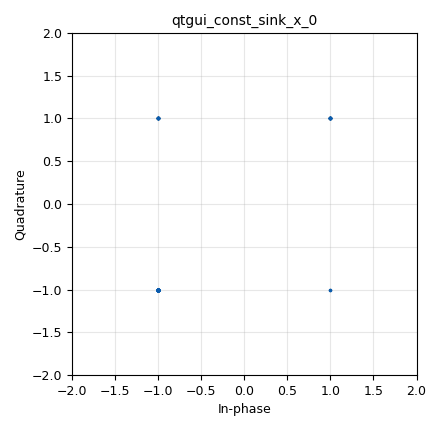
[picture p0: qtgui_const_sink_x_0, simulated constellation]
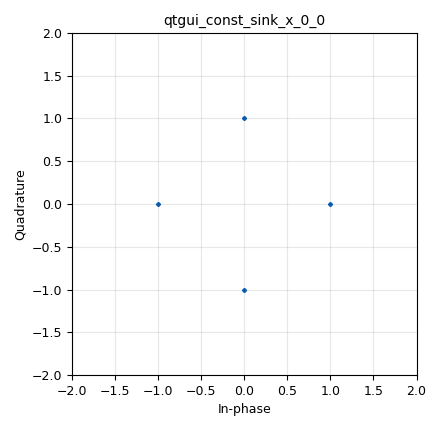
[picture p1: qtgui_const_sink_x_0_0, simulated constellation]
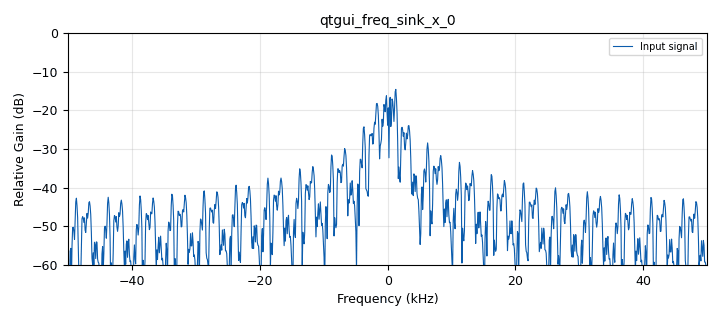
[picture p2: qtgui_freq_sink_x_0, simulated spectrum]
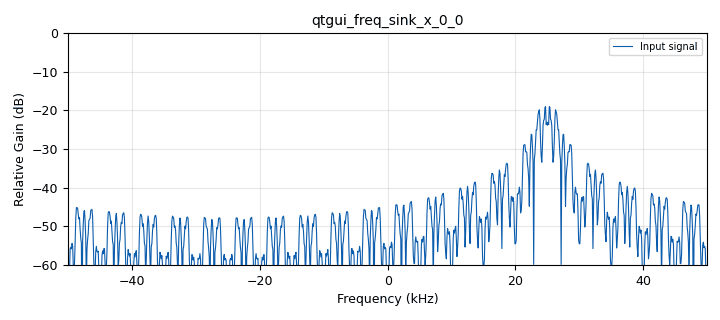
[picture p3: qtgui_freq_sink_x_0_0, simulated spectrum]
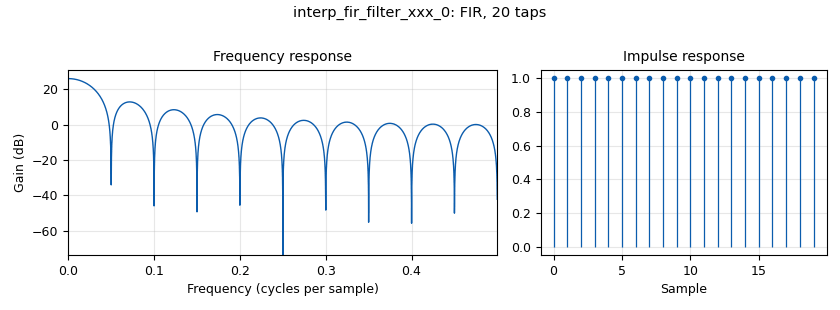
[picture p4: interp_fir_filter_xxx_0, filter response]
options:
  parameters:
    category: Custom
    description: IQ_tutorial_QPSK
    generate_options: qt_gui
    id: IQ_tutorial_QPSK
    output_language: python
    title: QPSK
  states: {}

blocks:
- name: bit_rate
  id: variable
  parameters:
    value: '5000'
  states: {}
- name: delta_f_over_fs
  id: variable_qtgui_range
  parameters:
    comment: Small delta_f
    gui_hint: 0,2,1,1
    label: delta_f/fs (channel)
    orient: Qt.Horizontal
    start: '-1.0e-4'
    step: '1.0e-6'
    stop: '1.0e-4'
    value: '0'
  states: {}
- name: delta_f_over_fs
  id: variable_qtgui_range
  parameters:
    comment: large delta_f
    gui_hint: 0,2,1,1
    orient: Qt.Horizontal
    start: '-0.25'
    step: 1/100
    stop: '0.25'
    value: '0'
  states: {state: disabled}
- name: noise
  id: variable_qtgui_range
  parameters:
    gui_hint: 0,0,1,1
    label: Noise
    orient: Qt.Horizontal
    start: '0'
    step: '0.01'
    stop: '0.2'
    value: '0'
  states: {}
- name: samp_rate
  id: variable
  parameters:
    value: bit_rate*sample_per_bit
  states: {}
- name: sample_per_bit
  id: variable
  parameters:
    value: '20'
  states: {}
- name: analog_const_source_x_0
  id: analog_const_source_x
  parameters:
    const: '0'
    type: float
  states: {}
- name: analog_random_source_x_0
  id: analog_random_source_x
  parameters:
    max: '2'
    min: '0'
    num_samps: '1000'
    repeat: 'True'
    type: byte
  states: {}
- name: analog_random_source_x_0_0
  id: analog_random_source_x
  parameters:
    max: '2'
    min: '0'
    num_samps: '1000'
    repeat: 'True'
    type: byte
  states: {}
- name: analog_sig_source_x_0
  id: analog_sig_source_x
  parameters:
    amp: '1'
    freq: samp_rate/4
    offset: '0'
    phase: '0'
    samp_rate: samp_rate
    type: complex
    waveform: analog.GR_COS_WAVE
  states: {}
- name: blocks_add_const_vxx_0_0
  id: blocks_add_const_vxx
  parameters:
    const: '-1-1j'
    type: complex
  states: {}
- name: blocks_add_const_vxx_0_0_0
  id: blocks_add_const_vxx
  parameters:
    const: '-1'
    type: complex
  states: {}
- name: blocks_char_to_float_0
  id: blocks_char_to_float
  parameters:
    scale: '0.5'
  states: {}
- name: blocks_char_to_float_0_0
  id: blocks_char_to_float
  parameters:
    scale: '0.5'
  states: {}
- name: blocks_float_to_complex_1
  id: blocks_float_to_complex
  parameters: {}
  states: {}
- name: blocks_float_to_complex_1_0
  id: blocks_float_to_complex
  parameters: {}
  states: {}
- name: blocks_multiply_xx_0
  id: blocks_multiply_xx
  parameters:
    type: complex
  states: {}
- name: blocks_throttle_1
  id: blocks_throttle
  parameters:
    samples_per_second: samp_rate
    type: complex
  states: {}
- name: blocks_throttle_1_0
  id: blocks_throttle
  parameters:
    samples_per_second: samp_rate
    type: complex
  states: {}
- name: channels_channel_model_0
  id: channels_channel_model
  parameters:
    comment: both channel are identical
    epsilon: '1.0'
    freq_offset: delta_f_over_fs
    noise_voltage: noise
    seed: '0'
    taps: '1'
  states: {}
- name: channels_channel_model_0_0
  id: channels_channel_model
  parameters:
    comment: both channel are identical
    epsilon: '1.0'
    freq_offset: delta_f_over_fs
    noise_voltage: noise
    seed: '0'
    taps: '1'
  states: {}
- name: interp_fir_filter_xxx_0
  id: interp_fir_filter_xxx
  parameters:
    comment: interpolate without filtering
    interp: sample_per_bit
    taps: numpy.ones(sample_per_bit)
    type: ccc
  states: {}
- name: interp_fir_filter_xxx_0_0
  id: interp_fir_filter_xxx
  parameters:
    comment: interpolate without filtering
    interp: sample_per_bit
    taps: numpy.ones(sample_per_bit)
    type: ccc
  states: {}
- name: qtgui_const_sink_x_0
  id: qtgui_const_sink_x
  parameters:
    gui_hint: tab@0:0,0,1,1
    size: '100'
    style1: '1'
    type: complex
  states: {}
- name: qtgui_const_sink_x_0_0
  id: qtgui_const_sink_x
  parameters:
    gui_hint: tab@0:0,1,1,1
    size: '100'
    style1: '1'
    type: complex
  states: {}
- name: qtgui_freq_sink_x_0
  id: qtgui_freq_sink_x
  parameters:
    bw: samp_rate
    fc: '0'
    fftsize: '1024'
    gui_hint: tab@1:0,0,1,1
    label1: Input signal
    type: complex
    wintype: firdes.WIN_BLACKMAN_hARRIS
    ymax: '0'
    ymin: '-60'
  states: {}
- name: qtgui_freq_sink_x_0_0
  id: qtgui_freq_sink_x
  parameters:
    bw: samp_rate
    fc: '0'
    fftsize: '1024'
    gui_hint: tab@1:0,1,1,1
    label1: Input signal
    type: complex
    wintype: firdes.WIN_BLACKMAN_hARRIS
    ymax: '0'
    ymin: '-60'
  states: {}
- name: tab
  id: qtgui_tab_widget
  parameters:
    gui_hint: 1,0,1,3
    label0: Constellation (Time)
    label1: Spectrum
    num_tabs: '2'
  states: {}
- name: virtual_sink_0
  id: virtual_sink
  parameters:
    alias: QPSK
    comment: i(t)+jq(t) complex signal
    stream_id: QPSK
  states: {}
- name: virtual_sink_0_0
  id: virtual_sink
  parameters:
    alias: QPSK
    comment: i(t)+j0 ....
    stream_id: BPSK
  states: {}
- name: virtual_source_0
  id: virtual_source
  parameters:
    comment: QPSK at F0
    stream_id: QPSK
  states: {}
- name: virtual_source_0_0
  id: virtual_source
  parameters:
    comment: BPSK at F0+25 kHz
    stream_id: BPSK
  states: {}

connections:
- [analog_const_source_x_0, '0', blocks_float_to_complex_1_0, '1']
- [analog_random_source_x_0, '0', blocks_char_to_float_0, '0']
- [analog_random_source_x_0_0, '0', blocks_char_to_float_0_0, '0']
- [analog_sig_source_x_0, '0', blocks_multiply_xx_0, '1']
- [blocks_add_const_vxx_0_0, '0', interp_fir_filter_xxx_0, '0']
- [blocks_add_const_vxx_0_0_0, '0', interp_fir_filter_xxx_0_0, '0']
- [blocks_char_to_float_0, '0', blocks_float_to_complex_1, '0']
- [blocks_char_to_float_0_0, '0', blocks_float_to_complex_1, '1']
- [blocks_char_to_float_0_0, '0', blocks_float_to_complex_1_0, '0']
- [blocks_float_to_complex_1, '0', blocks_add_const_vxx_0_0, '0']
- [blocks_float_to_complex_1_0, '0', blocks_add_const_vxx_0_0_0, '0']
- [blocks_multiply_xx_0, '0', virtual_sink_0_0, '0']
- [blocks_throttle_1, '0', virtual_sink_0, '0']
- [blocks_throttle_1_0, '0', blocks_multiply_xx_0, '0']
- [channels_channel_model_0, '0', qtgui_const_sink_x_0, '0']
- [channels_channel_model_0, '0', qtgui_freq_sink_x_0, '0']
- [channels_channel_model_0_0, '0', qtgui_const_sink_x_0_0, '0']
- [channels_channel_model_0_0, '0', qtgui_freq_sink_x_0_0, '0']
- [interp_fir_filter_xxx_0, '0', blocks_throttle_1, '0']
- [interp_fir_filter_xxx_0_0, '0', blocks_throttle_1_0, '0']
- [virtual_source_0, '0', channels_channel_model_0, '0']
- [virtual_source_0_0, '0', channels_channel_model_0_0, '0']

metadata:
  file_format: 1
